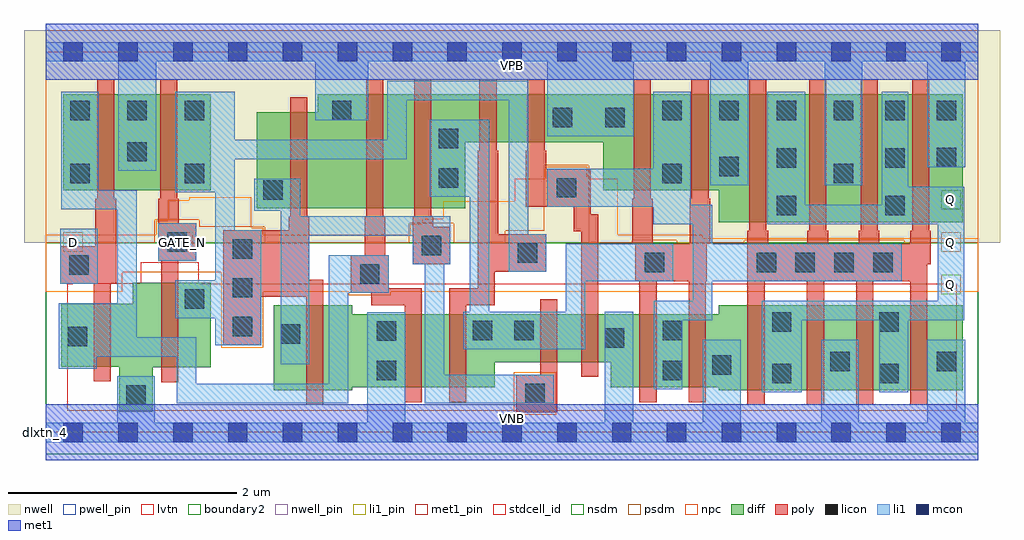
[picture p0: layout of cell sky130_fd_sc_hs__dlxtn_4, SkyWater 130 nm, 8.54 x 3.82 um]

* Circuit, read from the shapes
.subckt sky130_fd_sc_hs__dlxtn_4 D GATE_N Q VGND VNB VPB VPWR
XM1 VGND D n1 VNB sky130_fd_pr__nfet_01v8_lvt w=0.55 l=0.15
XM2 n2 GATE_N VGND VNB sky130_fd_pr__nfet_01v8_lvt w=0.74 l=0.15
XM3 VGND n2 n3 VNB sky130_fd_pr__nfet_01v8_lvt w=0.74 l=0.15
XM4 n4 n1 VGND VNB sky130_fd_pr__nfet_01v8_lvt w=0.64 l=0.15
XM5 n5 n2 n4 VNB sky130_fd_pr__nfet_01v8_lvt w=0.64 l=0.15
XM6 n6 n3 n5 VNB sky130_fd_pr__nfet_01v8_lvt w=0.42 l=0.15
XM7 VGND n7 n6 VNB sky130_fd_pr__nfet_01v8_lvt w=0.42 l=0.15
XM8 n7 n5 VGND VNB sky130_fd_pr__nfet_01v8_lvt w=0.64 l=0.15 m=2
XM9 Q n7 VGND VNB sky130_fd_pr__nfet_01v8_lvt w=0.74 l=0.15 m=4
XM10 VPWR D n1 VPB sky130_fd_pr__pfet_01v8 w=0.84 l=0.15
XM11 n2 GATE_N VPWR VPB sky130_fd_pr__pfet_01v8 w=0.84 l=0.15
XM12 VPWR n2 n3 VPB sky130_fd_pr__pfet_01v8 w=0.84 l=0.15
XM13 n8 n1 VPWR VPB sky130_fd_pr__pfet_01v8 w=1 l=0.15
XM14 n5 n3 n8 VPB sky130_fd_pr__pfet_01v8 w=1 l=0.15
XM15 n9 n2 n5 VPB sky130_fd_pr__pfet_01v8 w=0.42 l=0.15
XM16 VPWR n7 n9 VPB sky130_fd_pr__pfet_01v8 w=0.42 l=0.15
XM17 n7 n5 VPWR VPB sky130_fd_pr__pfet_01v8 w=0.84 l=0.15 m=2
XM18 Q n7 VPWR VPB sky130_fd_pr__pfet_01v8 w=1.12 l=0.15 m=4
.ends

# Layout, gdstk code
import gdstk
lib = gdstk.Library(unit=1e-6, precision=1e-09)
def R(c, l, rs):  # rectangles x0, y0, x1, y1
    for r in rs: c.add(gdstk.rectangle(r[:2], r[2:], *l))
def A(c, l, x, y, w, h, nx, ny, dx, dy):  # array of equal rectangles
    R(c, l, [(x+i*dx, y+j*dy, x+i*dx+w, y+j*dy+h) for i in range(nx) for j in range(ny)])
def P(c, l, *ps):  # polygons
    for p in ps: c.add(gdstk.Polygon(p, *l))
nwell_pin = (64, 16)
nwell = (64, 20)
diff = (65, 20)
poly = (66, 20)
licon = (66, 44)
li1_pin = (67, 16)
li1 = (67, 20)
mcon = (67, 44)
met1_pin = (68, 16)
met1 = (68, 20)
stdcell_id = (81, 4)
nsdm = (93, 44)
psdm = (94, 20)
npc = (95, 20)
pwell_pin = (122, 16)
lvtn = (125, 44)
boundary2 = (236, 0)

sky130_fd_sc_hs__dlxtn_4 = lib.new_cell('sky130_fd_sc_hs__dlxtn_4')
R(sky130_fd_sc_hs__dlxtn_4, nwell_pin, [(0,3.085,8.16,3.33)])
R(sky130_fd_sc_hs__dlxtn_4, nwell, [(-0.19,1.66,8.35,3.52)])
R(sky130_fd_sc_hs__dlxtn_4, diff, [(0.155,2.12,1.445,2.96)])
P(sky130_fd_sc_hs__dlxtn_4, diff, [(1.445,1.31),(0.76,1.31),(0.76,1.125),(0.135,1.125),(0.135,0.575),(0.645,0.575),(0.645,0.18),(0.935,0.18),(0.935,0.57),(1.445,0.57)],
  [(8.025,2.96),(2.38,2.96),(2.38,2.8),(1.845,2.8),(1.845,1.96),(3.67,1.96),(3.67,2.54),(4.88,2.54),(4.88,2.12),(5.89,2.12),(5.89,1.84),(8.025,1.84)],
  [(8.025,1.11),(5.89,1.11),(5.89,1.035),(2.68,1.035),(2.68,1.11),(1.995,1.11),(1.995,0.37),(2.68,0.37),(2.68,0.395),(3.93,0.395),(3.93,0.615),(4.945,0.615),(4.945,0.395),(5.89,0.395),(5.89,0.37),(8.025,0.37)])
P(sky130_fd_sc_hs__dlxtn_4, poly, [(7.745,1.765),(7.73,1.765),(7.73,3.09),(7.58,3.09),(7.58,1.765),(7.565,1.765),(7.565,1.65),(7.295,1.65),(7.295,1.765),(7.28,1.765),(7.28,3.09),(7.13,3.09),(7.13,1.765),(7.115,1.765),(7.115,1.65),(6.845,1.65),(6.845,1.765),(6.83,1.765),(6.83,3.09),(6.68,3.09),(6.68,1.765),(6.665,1.765),(6.665,1.65),(6.32,1.65),(6.32,1.765),(6.305,1.765),(6.305,3.09),(6.155,3.09),(6.155,1.765),(6.14,1.765),(6.14,0.24),(6.29,0.24),(6.29,1.32),(6.66,1.32),(6.66,0.24),(6.81,0.24),(6.81,1.32),(7.09,1.32),(7.09,0.24),(7.24,0.24),(7.24,1.32),(7.565,1.32),(7.565,0.24),(7.715,0.24),(7.715,1.47),(7.745,1.47)],
  [(5.815,2.045),(5.8,2.045),(5.8,3.09),(5.65,3.09),(5.65,2.045),(5.635,2.045),(5.635,1.65),(5.31,1.65),(5.31,2.045),(5.295,2.045),(5.295,3.09),(5.145,3.09),(5.145,2.045),(5.13,2.045),(5.13,1.65),(5.16,1.65),(5.16,1.32),(5.195,1.32),(5.195,0.265),(5.345,0.265),(5.345,1.32),(5.625,1.32),(5.625,0.265),(5.775,0.265),(5.775,1.32),(5.785,1.32),(5.785,1.65),(5.815,1.65)],
  [(4.835,1.91),(4.77,1.91),(4.77,2.305),(4.38,2.305),(4.38,2.465),(4.365,2.465),(4.365,3.09),(4.215,3.09),(4.215,2.465),(4.2,2.465),(4.2,1.975),(4.62,1.975),(4.62,1.76),(4.685,1.76),(4.685,0.485),(4.835,0.485)],
  [(4.475,1.165),(4.325,1.165),(4.325,0.505),(4.115,0.505),(4.115,0.175),(4.475,0.175)],
  [(4.38,1.735),(3.96,1.735),(3.96,2.465),(3.945,2.465),(3.945,3.09),(3.795,3.09),(3.795,2.465),(3.78,2.465),(3.78,1.26),(3.53,1.26),(3.53,0.265),(3.68,0.265),(3.68,1.11),(3.93,1.11),(3.93,1.405),(4.38,1.405)],
  [(3.54,1.8),(3.39,1.8),(3.39,1.885),(3.375,1.885),(3.375,3.09),(3.225,3.09),(3.225,1.885),(3.21,1.885),(3.21,1.47),(3.54,1.47)],
  [(3.29,1.26),(3,1.26),(3,1.55),(2.97,1.55),(2.97,1.885),(2.955,1.885),(2.955,3.09),(2.805,3.09),(2.805,1.885),(2.79,1.885),(2.79,1.55),(2.67,1.55),(2.67,1.22),(2.85,1.22),(2.85,1.11),(3.14,1.11),(3.14,0.265),(3.29,0.265)],
  [(2.43,1.335),(2.305,1.335),(2.305,1.885),(2.29,1.885),(2.29,2.93),(2.14,2.93),(2.14,1.885),(2.125,1.885),(2.125,1.77),(1.555,1.77),(1.555,0.76),(1.885,0.76),(1.885,1.185),(2.28,1.185),(2.28,0.24),(2.43,0.24)],
  [(1.315,1.83),(1.165,1.83),(1.165,2.045),(1.15,2.045),(1.15,3.09),(1,3.09),(1,2.045),(0.985,2.045),(0.985,1.5),(1.01,1.5),(1.01,0.44),(1.16,0.44),(1.16,1.5),(1.315,1.5)],
  [(0.615,2.045),(0.6,2.045),(0.6,3.09),(0.45,3.09),(0.45,2.045),(0.435,2.045),(0.435,1.63),(0.125,1.63),(0.125,1.3),(0.42,1.3),(0.42,0.445),(0.57,0.445),(0.57,1.3),(0.615,1.3)])
A(sky130_fd_sc_hs__dlxtn_4, licon, 1.635, 0.84, 0.17, 0.17, 1, 3, 0, 0.34)
A(sky130_fd_sc_hs__dlxtn_4, licon, 6.22, 1.4, 0.17, 0.17, 4, 1, 0.34, 0)
A(sky130_fd_sc_hs__dlxtn_4, licon, 7.345, 1.9, 0.17, 0.17, 1, 3, 0, 0.415)
A(sky130_fd_sc_hs__dlxtn_4, licon, 0.215, 2.73, 0.17, 0.17, 3, 1, 0.5, 0)
A(sky130_fd_sc_hs__dlxtn_4, licon, 5.395, 2.73, 0.17, 0.17, 4, 1, 0.5, 0)
R(sky130_fd_sc_hs__dlxtn_4, licon, [(0.705,0.24,0.875,0.41), (4.195,0.255,4.365,0.425), (6.355,0.43,6.525,0.6), (7.295,0.43,7.465,0.6), (2.895,0.455,3.065,0.625), (5.4,0.455,5.57,0.625), (5.83,0.505,6,0.675), (6.865,0.535,7.035,0.705), (7.795,0.535,7.965,0.705), (4.89,0.74,5.06,0.91), (0.195,0.755,0.365,0.925), (2.055,0.775,2.225,0.945), (2.895,0.8,3.065,0.97), (3.735,0.805,3.905,0.975), (4.1,0.805,4.27,0.975), (5.4,0.805,5.57,0.975), (6.355,0.88,6.525,1.05), (7.295,0.88,7.465,1.05), (1.215,1.08,1.385,1.25), (2.75,1.3,2.92,1.47), (0.205,1.38,0.375,1.55), (5.24,1.4,5.41,1.57), (4.13,1.485,4.3,1.655), (3.29,1.55,3.46,1.72), (1.065,1.58,1.235,1.75), (6.395,1.9,6.565,2.07), (1.905,2.035,2.075,2.205), (4.47,2.055,4.64,2.225), (3.44,2.14,3.61,2.31), (0.215,2.18,0.385,2.35), (1.215,2.18,1.385,2.35), (5.395,2.18,5.565,2.35), (6.895,2.18,7.065,2.35), (5.895,2.24,6.065,2.41), (6.395,2.315,6.565,2.485), (7.795,2.32,7.965,2.49), (0.715,2.37,0.885,2.54), (3.44,2.485,3.61,2.655), (4.435,2.67,4.605,2.84), (4.895,2.67,5.065,2.84), (2.505,2.73,2.675,2.9), (7.795,2.73,7.965,2.9)])
A(sky130_fd_sc_hs__dlxtn_4, li1_pin, 7.835, 1.21, 0.17, 0.17, 1, 3, 0, 0.37)
R(sky130_fd_sc_hs__dlxtn_4, li1_pin, [(0.155,1.58,0.325,1.75), (1.115,1.58,1.285,1.75)])
R(sky130_fd_sc_hs__dlxtn_4, li1, [(0.125,1.3,0.455,1.78), (0.985,1.5,1.315,1.83)])
P(sky130_fd_sc_hs__dlxtn_4, li1, [(0.625,1.13),(0.625,1.95),(0.135,1.95),(0.135,2.98),(0.465,2.98),(0.465,2.12),(0.795,2.12),(0.795,0.83),(1.315,0.83),(1.315,0.425),(2.475,0.425),(2.475,1.55),(3,1.55),(3,1.22),(2.645,1.22),(2.645,0.255),(1.145,0.255),(1.145,0.66),(0.445,0.66),(0.445,0.555),(0.115,0.555),(0.115,1.13)],
  [(0.635,2.29),(0.635,3.245),(0,3.245),(0,3.415),(8.16,3.415),(8.16,3.245),(8.045,3.245),(8.045,2.32),(7.715,2.32),(7.715,3.245),(7.145,3.245),(7.145,2.16),(6.815,2.16),(6.815,3.245),(6.145,3.245),(6.145,2.16),(5.815,2.16),(5.815,3.245),(5.145,3.245),(5.145,2.59),(4.39,2.59),(4.39,3.245),(2.82,3.245),(2.82,2.73),(2.36,2.73),(2.36,3.245),(0.965,3.245),(0.965,2.29)],
  [(0.625,0.085),(0.625,0.49),(0.955,0.49),(0.955,0.085),(2.815,0.085),(2.815,1.05),(3.145,1.05),(3.145,0.085),(4.89,0.085),(4.89,1.055),(5.14,1.055),(5.14,0.085),(5.75,0.085),(5.75,0.81),(6.08,0.81),(6.08,0.085),(6.785,0.085),(6.785,0.81),(7.115,0.81),(7.115,0.085),(7.715,0.085),(7.715,0.81),(8.045,0.81),(8.045,0.085),(8.16,0.085),(8.16,-0.085),(0,-0.085),(0,0.085)],
  [(4.38,1.735),(4.22,1.735),(4.22,3.075),(2.99,3.075),(2.99,2.56),(1.655,2.56),(1.655,2.98),(1.135,2.98),(1.135,2.1),(1.485,2.1),(1.485,1.33),(1.135,1.33),(1.135,1),(1.485,1),(1.485,0.76),(1.885,0.76),(1.885,1.77),(1.655,1.77),(1.655,2.39),(3.16,2.39),(3.16,2.905),(4.05,2.905),(4.05,1.405),(4.38,1.405)],
  [(7.49,1.65),(5.83,1.65),(5.83,1.99),(5.645,1.99),(5.645,2.98),(5.315,2.98),(5.315,2.305),(4.39,2.305),(4.39,1.975),(5.315,1.975),(5.315,1.82),(5.66,1.82),(5.66,1.15),(5.32,1.15),(5.32,0.375),(5.57,0.375),(5.57,0.98),(5.83,0.98),(5.83,1.32),(7.49,1.32)],
  [(4.445,0.505),(3.485,0.505),(3.485,1.47),(3.54,1.47),(3.54,1.89),(2.225,1.89),(2.225,2.22),(1.825,2.22),(1.825,1.94),(2.055,1.94),(2.055,0.595),(2.305,0.595),(2.305,1.72),(3.21,1.72),(3.21,1.47),(3.315,1.47),(3.315,0.255),(4.445,0.255)],
  [(5.49,1.65),(4.55,1.65),(4.55,1.055),(3.88,1.055),(3.88,2.735),(3.36,2.735),(3.36,2.06),(3.71,2.06),(3.71,1.055),(3.655,1.055),(3.655,0.725),(4.72,0.725),(4.72,1.32),(5.49,1.32)],
  [(8.035,2.15),(7.545,2.15),(7.545,2.98),(7.315,2.98),(7.315,1.99),(6.645,1.99),(6.645,2.98),(6.315,2.98),(6.315,1.82),(7.805,1.82),(7.805,1.15),(6.265,1.15),(6.265,0.35),(6.615,0.35),(6.615,0.98),(7.295,0.98),(7.295,0.35),(7.545,0.35),(7.545,0.98),(8.035,0.98)])
A(sky130_fd_sc_hs__dlxtn_4, mcon, 0.155, -0.085, 0.17, 0.17, 17, 2, 0.48, 3.33)
R(sky130_fd_sc_hs__dlxtn_4, met1_pin, [(0,0,8.16,0.245), (0,3.085,8.16,3.33)])
R(sky130_fd_sc_hs__dlxtn_4, met1, [(0,-0.245,8.16,0.245), (0,3.085,8.16,3.575)])
R(sky130_fd_sc_hs__dlxtn_4, stdcell_id, [(0,0,8.16,3.33)])
R(sky130_fd_sc_hs__dlxtn_4, nsdm, [(0,-0.19,8.16,1.66)])
P(sky130_fd_sc_hs__dlxtn_4, psdm, [(8.16,3.52),(0,3.52),(0,1.66),(0.955,1.66),(0.955,1.86),(1.345,1.86),(1.345,1.8),(1.915,1.8),(1.915,1.66),(3.18,1.66),(3.18,1.83),(3.57,1.83),(3.57,1.66),(4.02,1.66),(4.02,1.765),(4.36,1.765),(4.36,2.335),(4.75,2.335),(4.75,1.66),(5.13,1.66),(5.13,1.68),(5.52,1.68),(5.52,1.66),(6.11,1.66),(6.11,1.68),(7.51,1.68),(7.51,1.66),(8.16,1.66)])
R(sky130_fd_sc_hs__dlxtn_4, npc, [(4.095,0.155,4.465,0.525)])
P(sky130_fd_sc_hs__dlxtn_4, npc, [(8.16,1.7),(5.75,1.7),(5.75,1.73),(5.005,1.73),(5.005,2.22),(4.74,2.22),(4.74,2.325),(4.37,2.325),(4.37,2.22),(4.105,2.22),(4.105,2.02),(3.48,2.02),(3.48,1.87),(3.295,1.87),(3.295,1.82),(3.19,1.82),(3.19,1.73),(1.905,1.73),(1.905,1.79),(1.8,1.79),(1.8,2.055),(1.255,2.055),(1.255,2.03),(1.07,2.03),(1.07,1.85),(0.965,1.85),(0.965,1.73),(0,1.73),(0,1.23),(0.67,1.23),(0.67,1.4),(1.535,1.4),(1.535,0.74),(1.905,0.74),(1.905,1.23),(2.65,1.23),(2.65,1.2),(3.02,1.2),(3.02,1.23),(8.16,1.23)])
R(sky130_fd_sc_hs__dlxtn_4, pwell_pin, [(0,0,8.16,0.245)])
P(sky130_fd_sc_hs__dlxtn_4, lvtn, [(7.97,1.3),(1.34,1.3),(1.34,1.49),(0.83,1.49),(0.83,1.305),(0.24,1.305),(0.24,1.3),(0.19,1.3),(0.19,0.19),(7.97,0.19)])
R(sky130_fd_sc_hs__dlxtn_4, boundary2, [(0,0,8.16,3.33)])
sky130_fd_sc_hs__dlxtn_4.add(gdstk.Label('dlxtn_4', (0,0), layer=83, texttype=44))
sky130_fd_sc_hs__dlxtn_4.add(gdstk.Label('VNB', (4.08,0.123), layer=64, texttype=59))
sky130_fd_sc_hs__dlxtn_4.add(gdstk.Label('VPB', (4.08,3.208), layer=64, texttype=5))
sky130_fd_sc_hs__dlxtn_4.add(gdstk.Label('VPWR', (4.08,3.208), layer=68, texttype=5))
sky130_fd_sc_hs__dlxtn_4.add(gdstk.Label('VGND', (4.08,0.123), layer=68, texttype=5))
sky130_fd_sc_hs__dlxtn_4.add(gdstk.Label('D', (0.24,1.665), layer=67, texttype=5))
sky130_fd_sc_hs__dlxtn_4.add(gdstk.Label('GATE_N', (1.2,1.665), layer=67, texttype=5))
sky130_fd_sc_hs__dlxtn_4.add(gdstk.Label('Q', (7.92,1.295), layer=67, texttype=5))
sky130_fd_sc_hs__dlxtn_4.add(gdstk.Label('Q', (7.92,1.665), layer=67, texttype=5))
sky130_fd_sc_hs__dlxtn_4.add(gdstk.Label('Q', (7.92,2.035), layer=67, texttype=5))

lib.write_gds('sky130_fd_sc_hs__dlxtn_4.gds')
